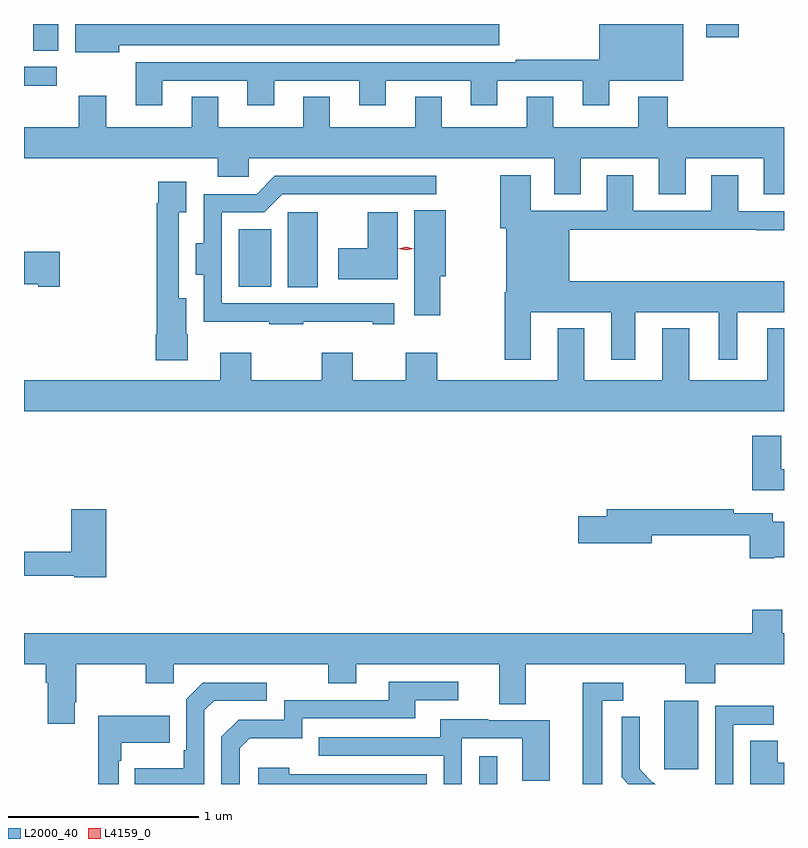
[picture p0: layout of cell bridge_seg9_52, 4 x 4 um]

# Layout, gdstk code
import gdstk
lib = gdstk.Library(unit=1e-6, precision=1e-09)
def R(c, l, rs):  # rectangles x0, y0, x1, y1
    for r in rs: c.add(gdstk.rectangle(r[:2], r[2:], *l))
def P(c, l, *ps):  # polygons
    for p in ps: c.add(gdstk.Polygon(p, *l))
L2000_40 = (2000, 40)
L4159_0 = (4159, 0)

bridge_seg9_52 = lib.new_cell('bridge_seg9_52')
R(bridge_seg9_52, L2000_40, [(1104.54,1186.467,1104.637,1186.612), (1105.514,1186.545,1105.693,1186.906), (1103.534,1189.081,1103.692,1189.477), (1103.276,1189.085,1103.446,1189.387), (1102.145,1190.143,1102.318,1190.241), (1102.193,1190.326,1102.324,1190.467), (1105.736,1190.397,1105.907,1190.467)])
P(bridge_seg9_52, L2000_40, [(1102.645,1190.354),(1104.646,1190.354),(1104.646,1190.467),(1102.416,1190.467),(1102.416,1190.318),(1102.645,1190.318)],
  [(1102.873,1190.169),(1103.321,1190.169),(1103.321,1190.04),(1103.461,1190.04),(1103.461,1190.169),(1103.909,1190.169),(1103.909,1190.04),(1104.049,1190.04),(1104.049,1190.169),(1104.497,1190.169),(1104.497,1190.04),(1104.637,1190.04),(1104.637,1190.169),(1105.085,1190.169),(1105.085,1190.04),(1105.225,1190.04),(1105.225,1190.168),(1105.615,1190.168),(1105.615,1190.467),(1105.172,1190.467),(1105.172,1190.278),(1104.733,1190.278),(1104.733,1190.265),(1102.733,1190.265),(1102.733,1190.04),(1102.873,1190.04)],
  [(1105.075,1189.76),(1105.487,1189.76),(1105.487,1189.57),(1105.627,1189.57),(1105.627,1189.76),(1106.039,1189.76),(1106.039,1189.57),(1106.145,1189.57),(1106.145,1189.924),(1105.532,1189.924),(1105.532,1190.083),(1105.379,1190.083),(1105.379,1189.924),(1104.931,1189.924),(1104.931,1190.084),(1104.791,1190.084),(1104.791,1189.924),(1104.343,1189.924),(1104.343,1190.084),(1104.203,1190.084),(1104.203,1189.924),(1103.755,1189.924),(1103.755,1190.084),(1103.615,1190.084),(1103.615,1189.924),(1103.167,1189.924),(1103.167,1190.084),(1103.027,1190.084),(1103.027,1189.924),(1102.579,1189.924),(1102.579,1190.089),(1102.432,1190.089),(1102.432,1189.924),(1102.145,1189.924),(1102.145,1189.76),(1103.165,1189.76),(1103.165,1189.662),(1103.328,1189.662),(1103.328,1189.76),(1104.935,1189.76),(1104.935,1189.57),(1105.075,1189.57)],
  [(1104.811,1188.95),(1105.235,1188.95),(1105.235,1188.699),(1105.363,1188.699),(1105.363,1188.95),(1105.802,1188.95),(1105.802,1188.699),(1105.9,1188.699),(1105.9,1188.95),(1106.145,1188.95),(1106.145,1189.114),(1105.015,1189.114),(1105.015,1189.384),(1105.999,1189.384),(1105.999,1189.382),(1106.145,1189.382),(1106.145,1189.482),(1105.903,1189.482),(1105.903,1189.672),(1105.763,1189.672),(1105.763,1189.485),(1105.351,1189.485),(1105.351,1189.672),(1105.211,1189.672),(1105.211,1189.485),(1104.811,1189.485),(1104.811,1189.672),(1104.652,1189.672),(1104.652,1189.392),(1104.683,1189.392),(1104.683,1189.054),(1104.676,1189.054),(1104.676,1188.699),(1104.811,1188.699)],
  [(1103.615,1188.899),(1103.981,1188.899),(1103.981,1188.888),(1104.094,1188.888),(1104.094,1188.996),(1103.187,1188.996),(1103.187,1189.476),(1103.409,1189.476),(1103.505,1189.572),(1104.316,1189.572),(1104.316,1189.668),(1103.466,1189.668),(1103.37,1189.572),(1103.09,1189.572),(1103.09,1189.312),(1103.048,1189.312),(1103.048,1189.148),(1103.091,1189.148),(1103.091,1188.899),(1103.437,1188.899),(1103.437,1188.888),(1103.615,1188.888)],
  [(1103.008,1188.834),(1102.999,1188.834),(1102.999,1189.024),(1102.959,1189.024),(1102.959,1189.475),(1102.999,1189.475),(1102.999,1189.636),(1102.851,1189.636),(1102.851,1189.523),(1102.843,1189.523),(1102.843,1188.834),(1102.838,1188.834),(1102.838,1188.698),(1103.008,1188.698)],
  [(1104.336,1189.139),(1104.366,1189.139),(1104.366,1189.487),(1104.2,1189.487),(1104.2,1188.933),(1104.336,1188.933)],
  [(1104.112,1189.477),(1103.954,1189.477),(1103.954,1189.288),(1103.799,1189.288),(1103.799,1189.124),(1104.112,1189.124)],
  [(1102.333,1189.268),(1102.145,1189.268),(1102.145,1189.097),(1102.22,1189.097),(1102.22,1189.085),(1102.333,1189.085)],
  [(1106.145,1188.865),(1106.057,1188.865),(1106.057,1188.592),(1105.645,1188.592),(1105.645,1188.865),(1105.505,1188.865),(1105.505,1188.592),(1105.093,1188.592),(1105.093,1188.865),(1104.953,1188.865),(1104.953,1188.592),(1104.319,1188.592),(1104.319,1188.736),(1104.155,1188.736),(1104.155,1188.592),(1103.875,1188.592),(1103.875,1188.736),(1103.711,1188.736),(1103.711,1188.592),(1103.341,1188.592),(1103.341,1188.736),(1103.177,1188.736),(1103.177,1188.592),(1102.145,1188.592),(1102.145,1188.428),(1106.145,1188.428)],
  [(1106.145,1188.124),(1106.131,1188.124),(1106.131,1188.301),(1105.979,1188.301),(1105.979,1188.014),(1106.145,1188.014)],
  [(1102.577,1187.914),(1102.394,1187.914),(1102.394,1187.69),(1102.145,1187.69),(1102.145,1187.562),(1102.41,1187.562),(1102.41,1187.554),(1102.577,1187.554)],
  [(1106.094,1187.66),(1106.145,1187.66),(1106.145,1187.848),(1106.086,1187.848),(1106.086,1187.892),(1105.88,1187.892),(1105.88,1187.912),(1105.211,1187.912),(1105.211,1187.876),(1105.062,1187.876),(1105.062,1187.734),(1105.45,1187.734),(1105.45,1187.776),(1105.964,1187.776),(1105.964,1187.654),(1106.094,1187.654)],
  [(1102.411,1186.897),(1102.419,1186.897),(1102.419,1187.096),(1102.786,1187.096),(1102.786,1186.997),(1102.932,1186.997),(1102.932,1187.096),(1103.746,1187.096),(1103.746,1186.997),(1103.893,1186.997),(1103.893,1187.096),(1104.647,1187.096),(1104.647,1186.888),(1104.787,1186.888),(1104.787,1187.096),(1105.624,1187.096),(1105.624,1186.997),(1105.784,1186.997),(1105.784,1187.096),(1106.145,1187.096),(1106.145,1187.26),(1106.135,1187.26),(1106.135,1187.384),(1105.979,1187.384),(1105.979,1187.26),(1102.145,1187.26),(1102.145,1187.096),(1102.259,1187.096),(1102.259,1187),(1102.271,1187),(1102.271,1186.785),(1102.411,1186.785)],
  [(1103.28,1186.656),(1103.333,1186.709),(1103.61,1186.709),(1103.61,1186.812),(1104.205,1186.812),(1104.205,1186.908),(1104.43,1186.908),(1104.43,1187.004),(1104.065,1187.004),(1104.065,1186.908),(1103.514,1186.908),(1103.514,1186.806),(1103.274,1186.806),(1103.184,1186.716),(1103.184,1186.467),(1103.28,1186.467)],
  [(1103.094,1186.854),(1103.145,1186.905),(1103.422,1186.905),(1103.422,1187.001),(1103.085,1187.001),(1102.998,1186.914),(1102.998,1186.645),(1102.986,1186.645),(1102.986,1186.549),(1102.729,1186.549),(1102.729,1186.467),(1103.094,1186.467)],
  [(1105.189,1186.905),(1105.3,1186.905),(1105.3,1187.001),(1105.085,1187.001),(1105.085,1186.467),(1105.189,1186.467)],
  [(1105.878,1186.779),(1106.092,1186.779),(1106.092,1186.878),(1105.782,1186.878),(1105.782,1186.467),(1105.878,1186.467)],
  [(1102.644,1186.589),(1102.657,1186.589),(1102.657,1186.685),(1102.913,1186.685),(1102.913,1186.825),(1102.536,1186.825),(1102.536,1186.467),(1102.644,1186.467)],
  [(1105.458,1186.476),(1105.455,1186.473),(1105.385,1186.544),(1105.385,1186.666),(1105.386,1186.666),(1105.386,1186.82),(1105.29,1186.82),(1105.29,1186.502),(1105.325,1186.467),(1105.467,1186.467)],
  [(1104.45,1186.707),(1104.768,1186.707),(1104.768,1186.483),(1104.913,1186.483),(1104.913,1186.803),(1104.589,1186.803),(1104.589,1186.807),(1104.335,1186.807),(1104.335,1186.713),(1103.695,1186.713),(1103.695,1186.617),(1104.354,1186.617),(1104.354,1186.467),(1104.45,1186.467)],
  [(1106.145,1186.58),(1106.111,1186.58),(1106.111,1186.694),(1105.967,1186.694),(1105.967,1186.467),(1106.145,1186.467)],
  [(1104.264,1186.518),(1103.54,1186.518),(1103.54,1186.552),(1103.379,1186.552),(1103.379,1186.467),(1104.264,1186.467)])
P(bridge_seg9_52, L4159_0, [(1104.156,1189.275),(1104.116,1189.285),(1104.116,1189.285),(1104.116,1189.285),(1104.156,1189.295),(1104.195,1189.285),(1104.195,1189.285),(1104.195,1189.285)])

lib.write_gds('bridge_seg9_52.gds')
